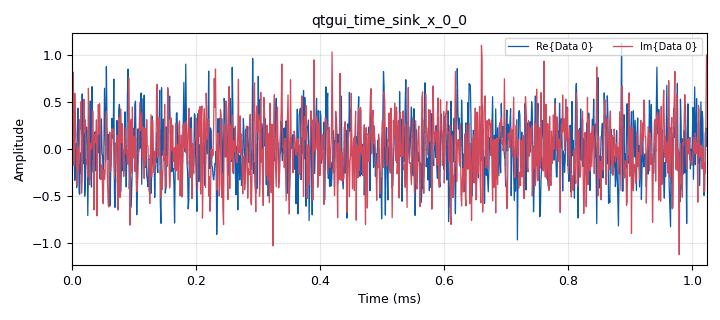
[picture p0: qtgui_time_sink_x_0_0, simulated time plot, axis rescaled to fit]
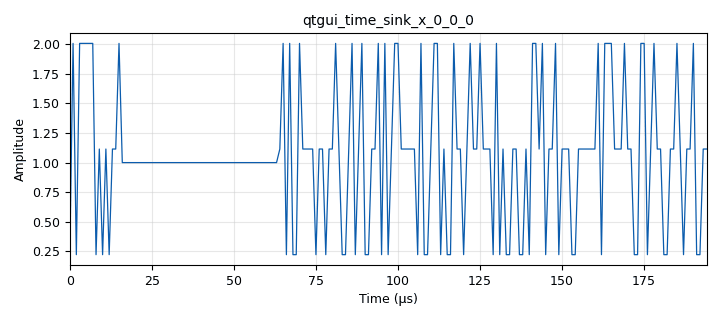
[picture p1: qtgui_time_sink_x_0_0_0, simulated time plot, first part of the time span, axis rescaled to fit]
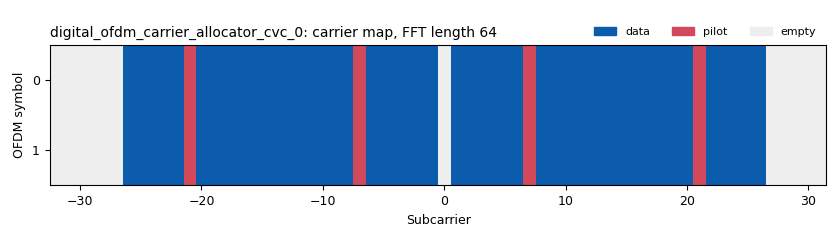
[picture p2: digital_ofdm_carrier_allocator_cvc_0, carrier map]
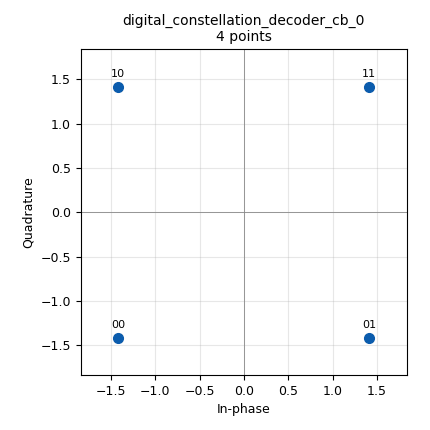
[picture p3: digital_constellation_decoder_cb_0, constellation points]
options:
  parameters:
    author: Cyrille Morin
    generate_options: qt_gui
    id: ofdm_rx_example
    output_language: python
    title: Example OFDM RX
  states: {}

blocks:
- name: byte_amount
  id: variable
  parameters:
    value: frame_amount * len(occupied_carriers[0]) // (8//bps)
  states: {}
- name: byte_sequence
  id: variable
  parameters:
    value: '[np.random.randint(256) for x in range(byte_amount)] if np.random.seed(0) is None else 0'
  states: {}
- name: cp_len
  id: variable
  parameters:
    value: fft_len//4
  states: {}
- name: frame_amount
  id: variable
  parameters:
    value: '20'
  states: {}
- name: header_equalizer
  id: variable
  parameters:
    value: digital.ofdm_equalizer_simpledfe(fft_len,header_mod.base(),occupied_carriers,pilot_carriers,pilot_symbols)
  states: {}
- name: header_formatter
  id: variable
  parameters:
    value: digital.packet_header_ofdm(occupied_carriers, n_syms=1, len_tag_key=length_tag_key, frame_len_tag_key=length_tag_key, bits_per_header_sym=header_mod.bits_per_symbol(), bits_per_payload_sym=payload_mod.bits_per_symbol(), scramble_header=True)
  states: {}
- name: header_mod
  id: variable
  parameters:
    value: digital.constellation_qpsk()
  states: {}
- name: length_tag_key
  id: variable
  parameters:
    value: '"frame_len"'
  states: {}
- name: mul
  id: variable_qtgui_range
  parameters:
    start: '0'
    step: '0.001'
    stop: '2'
    value: '0.06'
  states: {}
- name: occupied_carriers
  id: variable
  parameters:
    value: (list(range(-26, -21)) + list(range(-20, -7)) + list(range(-6, 0)) + list(range(1, 7)) + list(range(8, 21)) + list(range(22, 27)),)
  states: {}
- name: packet_length_tag_key
  id: variable
  parameters:
    value: '"packet_len"'
  states: {}
- name: payload_equalizer
  id: variable
  parameters:
    value: digital.ofdm_equalizer_simpledfe(fft_len, payload_mod.base(), occupied_carriers, pilot_carriers, pilot_symbols, 1)
  states: {}
- name: payload_mod
  id: variable
  parameters:
    value: digital.qam_constellation(constellation_points=2**bps,differential=False,mod_code=digital.utils.mod_codes.GRAY_CODE) if (bps in [2,4,8]) else digital.constellation_bpsk()
  states: {}
- name: pilot_carriers
  id: variable
  parameters:
    value: ((-21, -7, 7, 21,),)
  states: {}
- name: pilot_symbols
  id: variable
  parameters:
    value: ((1, 1, 1, -1,),)
  states: {}
- name: rolloff
  id: variable
  parameters:
    value: '0'
  states: {}
- name: sync_word1
  id: variable
  parameters:
    value: '[0., 0., 0., 0., 0., 0., 0., 1.41421356, 0., -1.41421356, 0., 1.41421356, 0., -1.41421356, 0., -1.41421356, 0., -1.41421356, 0., 1.41421356, 0., -1.41421356, 0., 1.41421356, 0., -1.41421356, 0., -1.41421356, 0., -1.41421356, 0., -1.41421356, 0., 1.41421356, 0., -1.41421356, 0., 1.41421356, 0., 1.41421356, 0., 1.41421356, 0., -1.41421356, 0., 1.41421356, 0., 1.41421356, 0., 1.41421356, 0., -1.41421356, 0., 1.41421356, 0., 1.41421356, 0., 1.41421356, 0., 0., 0., 0., 0., 0.]'
  states: {}
- name: sync_word2
  id: variable
  parameters:
    value: '[0, 0, 0, 0, 0, 0, -1, -1, -1, -1, 1, 1, -1, -1, -1, 1, -1, 1, 1, 1, 1, 1, -1, -1, -1, -1, -1, 1, -1, -1, 1, -1, 0, 1, -1, 1, 1, 1, -1, 1, 1, 1, -1, 1, 1, 1, 1, -1, 1, -1, -1, -1, 1, -1, 1, -1, -1, -1, -1, 0, 0, 0, 0, 0] '
  states: {}
- name: analog_frequency_modulator_fc_0
  id: analog_frequency_modulator_fc
  parameters:
    sensitivity: '-2.0/fft_len'
  states: {}
- name: blocks_char_to_float_0
  id: blocks_char_to_float
  parameters:
    scale: '1'
  states: {state: disabled}
- name: blocks_char_to_float_0_0
  id: blocks_char_to_float
  parameters:
    scale: '1'
  states: {state: disabled}
- name: blocks_complex_to_mag_squared_0
  id: blocks_complex_to_mag_squared
  parameters: {}
  states: {}
- name: blocks_delay_0
  id: blocks_delay
  parameters:
    delay: fft_len+cp_len
    type: complex
  states: {}
- name: blocks_message_strobe_0
  id: blocks_message_strobe
  parameters:
    msg: pmt.cons(pmt.make_dict(), pmt.to_pmt(np.array(byte_sequence, dtype=np.uint8)))
    period: int(1000)
  states: {}
- name: blocks_message_strobe_0_0
  id: blocks_message_strobe
  parameters:
    msg: pmt.cons(pmt.make_dict(), pmt.to_pmt(np.array(byte_sequence, dtype=np.uint8)))
    period: int(1000*packet_freq)
  states: {}
- name: blocks_multiply_const_vxx_0
  id: blocks_multiply_const_vxx
  parameters:
    const: mul
    type: complex
  states: {}
- name: blocks_multiply_xx_0
  id: blocks_multiply_xx
  parameters:
    type: complex
  states: {}
- name: blocks_repack_bits_bb_0
  id: blocks_repack_bits_bb
  parameters:
    align_output: 'True'
    endianness: gr.GR_LSB_FIRST
    k: payload_mod.bits_per_symbol()
    l: '8'
    len_tag_key: packet_length_tag_key
  states: {}
- name: blocks_repack_bits_bb_0_0
  id: blocks_repack_bits_bb
  parameters:
    endianness: gr.GR_LSB_FIRST
    k: '8'
    l: payload_mod.bits_per_symbol()
    len_tag_key: length_tag_key
  states: {}
- name: blocks_skiphead_0
  id: blocks_skiphead
  parameters:
    num_items: int(samp_rate*skip_time)
    type: complex
  states: {}
- name: blocks_sub_xx_0
  id: blocks_sub_xx
  parameters:
    type: float
  states: {state: disabled}
- name: blocks_tag_gate_0_0
  id: blocks_tag_gate
  parameters:
    propagate_tags: 'False'
    type: complex
  states: {}
- name: blocks_tagged_stream_mux_0
  id: blocks_tagged_stream_mux
  parameters:
    lengthtagname: length_tag_key
    ninputs: '2'
    type: complex
  states: {}
- name: blocks_vector_to_stream_0
  id: blocks_vector_to_stream
  parameters:
    num_items: fft_len
    type: complex
  states: {}
- name: bps
  id: parameter
  parameters:
    label: Bits per Symbol
    short_id: b
    type: intx
    value: '4'
  states: {}
- name: channels_channel_model_0
  id: channels_channel_model
  parameters:
    epsilon: '1.0'
    freq_offset: '0'
    noise_voltage: '0.1'
    seed: '0'
    taps: '1.0'
  states: {}
- name: digital_chunks_to_symbols_xx_0
  id: digital_chunks_to_symbols_xx
  parameters:
    dimension: '1'
    in_type: byte
    out_type: complex
    symbol_table: np.array(header_mod.points())/np.mean(np.abs(np.array(header_mod.points())))
  states: {}
- name: digital_chunks_to_symbols_xx_0_0
  id: digital_chunks_to_symbols_xx
  parameters:
    dimension: '1'
    in_type: byte
    out_type: complex
    symbol_table: np.array(payload_mod.points())/np.mean(np.abs(np.array(payload_mod.points())))
  states: {}
- name: digital_constellation_decoder_cb_0
  id: digital_constellation_decoder_cb
  parameters:
    constellation: header_mod.base()
  states: {}
- name: digital_constellation_decoder_cb_1
  id: digital_constellation_decoder_cb
  parameters:
    constellation: payload_mod.base()
  states: {}
- name: digital_header_payload_demux_0
  id: digital_header_payload_demux
  parameters:
    guard_interval: cp_len
    header_len: '3'
    header_padding: '0'
    items_per_symbol: fft_len
    length_tag_key: length_tag_key
    output_symbols: 'True'
    samp_rate: int(samp_rate)
    special_tags: '["rx_freq"]'
    timing_tag_key: '"rx_time"'
    type: complex
  states: {}
- name: digital_ofdm_carrier_allocator_cvc_0
  id: digital_ofdm_carrier_allocator_cvc
  parameters:
    fft_len: fft_len
    len_tag_key: length_tag_key
    occupied_carriers: occupied_carriers
    output_is_shifted: 'True'
    pilot_carriers: pilot_carriers
    pilot_symbols: pilot_symbols
    sync_words: (sync_word1, sync_word2)
  states: {}
- name: digital_ofdm_chanest_vcvc_0
  id: digital_ofdm_chanest_vcvc
  parameters:
    force_one_symbol: 'False'
    max_carr_offset: '1'
    n_data_symbols: '1'
    sync_symbol1: sync_word1
    sync_symbol2: sync_word2
  states: {}
- name: digital_ofdm_cyclic_prefixer_0
  id: digital_ofdm_cyclic_prefixer
  parameters:
    cp_len: cp_len
    input_size: fft_len
    rolloff: rolloff
    tagname: length_tag_key
  states: {}
- name: digital_ofdm_frame_equalizer_vcvc_0
  id: digital_ofdm_frame_equalizer_vcvc
  parameters:
    cp_len: cp_len
    equalizer: header_equalizer.base()
    fft_len: fft_len
    fixed_frame_len: '1'
    len_tag_key: '"header_len"'
    propagate_channel_state: 'True'
  states: {}
- name: digital_ofdm_frame_equalizer_vcvc_1
  id: digital_ofdm_frame_equalizer_vcvc
  parameters:
    cp_len: cp_len
    equalizer: payload_equalizer.base()
    fft_len: fft_len
    len_tag_key: length_tag_key
    propagate_channel_state: 'False'
  states: {}
- name: digital_ofdm_serializer_vcc_header
  id: digital_ofdm_serializer_vcc
  parameters:
    carr_offset_key: ''
    fft_len: fft_len
    len_tag_key: '"header_len"'
    occupied_carriers: occupied_carriers
    packet_len_tag_key: ''
  states: {}
- name: digital_ofdm_serializer_vcc_payload
  id: digital_ofdm_serializer_vcc
  parameters:
    carr_offset_key: ''
    fft_len: fft_len
    len_tag_key: length_tag_key
    occupied_carriers: occupied_carriers
    packet_len_tag_key: packet_length_tag_key
  states: {}
- name: digital_ofdm_sync_sc_cfb_0
  id: digital_ofdm_sync_sc_cfb
  parameters:
    cp_len: cp_len
    fft_len: fft_len
    threshold: '0.9'
  states: {}
- name: digital_packet_headergenerator_bb_0
  id: digital_packet_headergenerator_bb
  parameters:
    header_formatter: header_formatter.base()
    len_tag_key: length_tag_key
  states: {}
- name: digital_packet_headerparser_b_0
  id: digital_packet_headerparser_b
  parameters:
    header_formatter: header_formatter
  states: {}
- name: epy_block_0
  id: epy_block
  parameters:
    _source_code: |
      """
      Embedded Python Blocks:

      Each time this file is saved, GRC will instantiate the first class it finds
      to get ports and parameters of your block. The arguments to __init__  will
      be the parameters. All of them are required to have default values!
      """

      import numpy as np
      from gnuradio import gr
      import pmt


      class blk(gr.sync_block):  # other base classes are basic_block, decim_block, interp_block
          """Embedded Python Block - 
          Compares a recieved packet message with a reference.
          Expects PDUs with byte samples
          """

          def __init__(self):  # only default arguments here
              """arguments to this function show up as parameters in GRC"""
              gr.sync_block.__init__(
                  self,
                  name='Packet Comparator',   # will show up in GRC
                  in_sig=[],
                  out_sig=[]
              )

              self.logger = gr.logger(self.alias())
              # if an attribute with the same name as a parameter is found,
              # a callback is registered (properties work, too).

              self.message_port_register_in(pmt.intern("Expected"))
              self.set_msg_handler(pmt.intern("Expected"), self.handle_expected)
              self.message_port_register_in(pmt.intern("RX in"))
              self.set_msg_handler(pmt.intern("RX in"), self.handle_rx_in)

              self.reference_vector = None

          def handle_rx_in(self, msg):
              if self.reference_vector is None:
                  self.logger.error("Recieved a packet, but there is no reference to compare to")
                  return
              
              py_msg = pmt.to_python(msg)
              data = py_msg[1].astype(np.uint8, copy=False)

              if len(data) != len(self.reference_vector):
                  self.logger.warn("Packet with length different from reference, counted as erroneous")
                  return
              if "packet_num" in py_msg[0]:
                  packet_num = py_msg[0]['packet_num']
              else:
                  packet_num = "Not Found"
              xored = np.bitwise_xor(data, self.reference_vector)
              bit_errors = np.unpackbits(xored)
              ber = np.mean(bit_errors)

              self.logger.info(f"Recieved packet num {packet_num} with a BER of {ber}")


          def handle_expected(self, msg):
              self.reference_vector = pmt.to_python(msg)[1].astype(np.uint8, copy=False)
              # self.logger.info("Recieved a reference message")

          def work(self, input_items, output_items):
              """example: multiply with constant"""
              output_items[0][:] = input_items[0] * self.example_param
              return len(output_items[0])
  states: {}
- name: fft_len
  id: parameter
  parameters:
    label: FFT Length
    short_id: l
    type: intx
    value: '64'
  states: {}
- name: fft_vxx_0
  id: fft_vxx
  parameters:
    fft_size: fft_len
    forward: 'False'
    shift: 'True'
    type: complex
    window: ()
  states: {}
- name: fft_vxx_0_0
  id: fft_vxx
  parameters:
    fft_size: fft_len
    forward: 'True'
    shift: 'True'
    type: complex
    window: ()
  states: {}
- name: fft_vxx_1
  id: fft_vxx
  parameters:
    fft_size: fft_len
    forward: 'True'
    shift: 'True'
    type: complex
    window: ()
  states: {}
- name: freq
  id: parameter
  parameters:
    label: Center frequency
    short_id: f
    type: eng_float
    value: '2500000000'
  states: {}
- name: gain
  id: parameter
  parameters:
    label: RX Gain
    short_id: g
    type: eng_float
    value: '50'
  states: {}
- name: header_bits
  id: virtual_sink
  parameters:
    stream_id: Header Bits
  states: {}
- name: import_0
  id: import
  parameters:
    imports: import numpy as np
  states: {}
- name: packet_freq
  id: parameter
  parameters:
    label: Packet Wait Time
    short_id: t
    type: eng_float
    value: '0.5'
  states: {}
- name: pdu_pdu_to_tagged_stream_0
  id: pdu_pdu_to_tagged_stream
  parameters:
    tag: length_tag_key
    type: byte
  states: {}
- name: pdu_tagged_stream_to_pdu_0
  id: pdu_tagged_stream_to_pdu
  parameters:
    tag: packet_length_tag_key
    type: byte
  states: {}
- name: qtgui_time_sink_x_0_0
  id: qtgui_time_sink_x
  parameters:
    size: '1024'
    srate: samp_rate
    type: complex
  states: {}
- name: qtgui_time_sink_x_0_0_0
  id: qtgui_time_sink_x
  parameters:
    size: '1024'
    srate: samp_rate
    type: float
  states: {}
- name: qtgui_time_sink_x_0_0_1
  id: qtgui_time_sink_x
  parameters:
    autoscale: 'True'
    name: '"Debug len"'
    size: '200'
    srate: samp_rate
    type: float
  states: {state: disabled}
- name: samp_rate
  id: parameter
  parameters:
    label: Sample rate
    short_id: r
    type: intx
    value: '1000000'
  states: {}
- name: skip_time
  id: parameter
  parameters:
    label: skip stime
    short_id: s
    type: eng_float
    value: '0'
  states: {}
- name: uhd_usrp_source_0
  id: uhd_usrp_source
  parameters:
    ant0: '"RX2"'
    bw0: 160e6
    center_freq0: freq
    clock_source0: external
    gain0: gain
    samp_rate: samp_rate
    sync: pc_clock
    type: fc32
  states: {state: disabled}
- name: virtual_sink_0
  id: virtual_sink
  parameters:
    stream_id: Header Stream
  states: {}
- name: virtual_sink_0_0
  id: virtual_sink
  parameters:
    stream_id: Time Domain
  states: {}
- name: virtual_sink_0_0_0
  id: virtual_sink
  parameters:
    stream_id: Pre-OFDM
  states: {}
- name: virtual_sink_0_0_1
  id: virtual_sink
  parameters:
    stream_id: Payload Bits
  states: {}
- name: virtual_sink_1
  id: virtual_sink
  parameters:
    stream_id: Payload Stream
  states: {}
- name: virtual_sink_2
  id: virtual_sink
  parameters:
    stream_id: Channel in
  states: {}
- name: virtual_sink_2_0
  id: virtual_sink
  parameters:
    stream_id: Channel out
  states: {}
- name: virtual_source_0
  id: virtual_source
  parameters:
    stream_id: Header Stream
  states: {}
- name: virtual_source_0_0
  id: virtual_source
  parameters:
    stream_id: Payload Bits
  states: {}
- name: virtual_source_0_0_0
  id: virtual_source
  parameters:
    stream_id: Pre-OFDM
  states: {}
- name: virtual_source_0_0_0_0
  id: virtual_source
  parameters:
    stream_id: Time Domain
  states: {}
- name: virtual_source_0_1
  id: virtual_source
  parameters:
    stream_id: Header Bits
  states: {}
- name: virtual_source_1
  id: virtual_source
  parameters:
    stream_id: Payload Stream
  states: {}
- name: virtual_source_2
  id: virtual_source
  parameters:
    stream_id: Channel in
  states: {}
- name: virtual_source_2_0
  id: virtual_source
  parameters:
    stream_id: Channel out
  states: {}

connections:
- [analog_frequency_modulator_fc_0, '0', blocks_multiply_xx_0, '1']
- [blocks_char_to_float_0, '0', blocks_sub_xx_0, '0']
- [blocks_char_to_float_0_0, '0', blocks_sub_xx_0, '1']
- [blocks_complex_to_mag_squared_0, '0', qtgui_time_sink_x_0_0_0, '0']
- [blocks_delay_0, '0', blocks_multiply_xx_0, '0']
- [blocks_message_strobe_0, strobe, epy_block_0, Expected]
- [blocks_message_strobe_0_0, strobe, pdu_pdu_to_tagged_stream_0, pdus]
- [blocks_multiply_const_vxx_0, '0', virtual_sink_2, '0']
- [blocks_multiply_xx_0, '0', digital_header_payload_demux_0, '0']
- [blocks_repack_bits_bb_0, '0', pdu_tagged_stream_to_pdu_0, '0']
- [blocks_repack_bits_bb_0_0, '0', blocks_char_to_float_0_0, '0']
- [blocks_repack_bits_bb_0_0, '0', virtual_sink_0_0_1, '0']
- [blocks_skiphead_0, '0', blocks_delay_0, '0']
- [blocks_skiphead_0, '0', digital_ofdm_sync_sc_cfb_0, '0']
- [blocks_sub_xx_0, '0', qtgui_time_sink_x_0_0_1, '0']
- [blocks_tag_gate_0_0, '0', virtual_sink_2_0, '0']
- [blocks_tagged_stream_mux_0, '0', blocks_complex_to_mag_squared_0, '0']
- [blocks_tagged_stream_mux_0, '0', virtual_sink_0_0_0, '0']
- [blocks_vector_to_stream_0, '0', qtgui_time_sink_x_0_0, '0']
- [channels_channel_model_0, '0', blocks_tag_gate_0_0, '0']
- [digital_chunks_to_symbols_xx_0, '0', blocks_tagged_stream_mux_0, '0']
- [digital_chunks_to_symbols_xx_0_0, '0', blocks_tagged_stream_mux_0, '1']
- [digital_constellation_decoder_cb_0, '0', digital_packet_headerparser_b_0, '0']
- [digital_constellation_decoder_cb_1, '0', blocks_char_to_float_0, '0']
- [digital_constellation_decoder_cb_1, '0', blocks_repack_bits_bb_0, '0']
- [digital_header_payload_demux_0, '0', virtual_sink_0, '0']
- [digital_header_payload_demux_0, '1', blocks_vector_to_stream_0, '0']
- [digital_header_payload_demux_0, '1', virtual_sink_1, '0']
- [digital_ofdm_carrier_allocator_cvc_0, '0', fft_vxx_0, '0']
- [digital_ofdm_chanest_vcvc_0, '0', digital_ofdm_frame_equalizer_vcvc_0, '0']
- [digital_ofdm_cyclic_prefixer_0, '0', virtual_sink_0_0, '0']
- [digital_ofdm_frame_equalizer_vcvc_0, '0', digital_ofdm_serializer_vcc_header, '0']
- [digital_ofdm_frame_equalizer_vcvc_1, '0', digital_ofdm_serializer_vcc_payload, '0']
- [digital_ofdm_serializer_vcc_header, '0', digital_constellation_decoder_cb_0, '0']
- [digital_ofdm_serializer_vcc_payload, '0', digital_constellation_decoder_cb_1, '0']
- [digital_ofdm_sync_sc_cfb_0, '0', analog_frequency_modulator_fc_0, '0']
- [digital_ofdm_sync_sc_cfb_0, '1', digital_header_payload_demux_0, '1']
- [digital_packet_headergenerator_bb_0, '0', header_bits, '0']
- [digital_packet_headerparser_b_0, header_data, digital_header_payload_demux_0, header_data]
- [fft_vxx_0, '0', digital_ofdm_cyclic_prefixer_0, '0']
- [fft_vxx_0_0, '0', digital_ofdm_chanest_vcvc_0, '0']
- [fft_vxx_1, '0', digital_ofdm_frame_equalizer_vcvc_1, '0']
- [pdu_pdu_to_tagged_stream_0, '0', blocks_repack_bits_bb_0_0, '0']
- [pdu_pdu_to_tagged_stream_0, '0', digital_packet_headergenerator_bb_0, '0']
- [pdu_tagged_stream_to_pdu_0, pdus, epy_block_0, RX in]
- [uhd_usrp_source_0, '0', blocks_skiphead_0, '0']
- [virtual_source_0, '0', fft_vxx_0_0, '0']
- [virtual_source_0_0, '0', digital_chunks_to_symbols_xx_0_0, '0']
- [virtual_source_0_0_0, '0', digital_ofdm_carrier_allocator_cvc_0, '0']
- [virtual_source_0_0_0_0, '0', blocks_multiply_const_vxx_0, '0']
- [virtual_source_0_1, '0', digital_chunks_to_symbols_xx_0, '0']
- [virtual_source_1, '0', fft_vxx_1, '0']
- [virtual_source_2, '0', channels_channel_model_0, '0']
- [virtual_source_2_0, '0', blocks_skiphead_0, '0']

metadata:
  file_format: 1
  grc_version: 3.10.6.0
